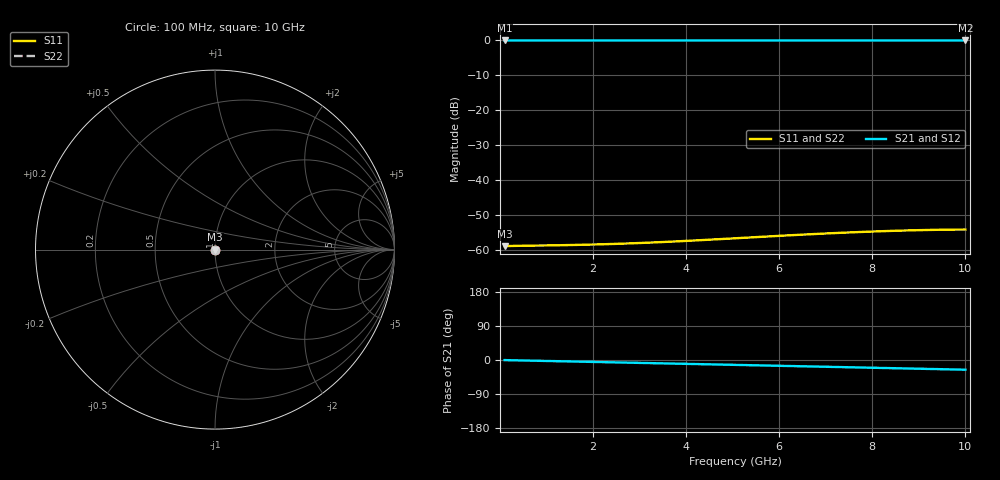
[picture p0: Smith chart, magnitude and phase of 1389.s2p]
# Hz S RI R 50.00
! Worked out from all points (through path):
!   100 points, 100 MHz to 10 GHz, reference 50 ohm
!   highest |S21| = -0.01 dB at 100 MHz (marker M1); lowest = 0.0 dB at 10 GHz (marker M2)
!   group delay of S21, straight-line fit = 7.12 ps
!   lowest |S11| = -59.0 dB at 100 MHz (marker M3), VSWR 1.00, Z = 50.1 - j0.00202 ohm
!   |S11| at or under -10 dB: start of sweep to end of sweep
!   |S22| runs from -59.0 to -54.3 dB; largest |S21 - S12| = 0
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1e8  0.00112 -2.02e-05  0.9989 -0.00442  0.9989 -0.00442  0.00112 -2.02e-05
2e8  0.00112 -4.05e-05  0.9988 -0.00884  0.9988 -0.00884  0.00112 -4.05e-05
4e8  0.00113 -8.14e-05  0.9987 -0.0177  0.9987 -0.0177  0.00113 -8.14e-05
1.3e9  0.00112 -0.000272  0.9972 -0.0575  0.9972 -0.0575  0.00112 -0.000272
1.8e9  0.00111 -0.000383  0.9956 -0.0796  0.9956 -0.0796  0.00111 -0.000383
2.2e9  0.00109 -0.000475  0.994 -0.0972  0.994 -0.0972  0.00109 -0.000475
2.6e9  0.00107 -0.000569  0.9921 -0.1149  0.9921 -0.1149  0.00107 -0.000569
3e9  0.00105 -0.000664  0.9899 -0.1325  0.9899 -0.1325  0.00105 -0.000664
3.4e9  0.00102 -0.00076  0.9874 -0.1501  0.9874 -0.1501  0.00102 -0.00076
3.7e9  0.000997 -0.000833  0.9853 -0.1632  0.9853 -0.1632  0.000997 -0.000833
4.1e9  0.000963 -0.00093  0.9822 -0.1808  0.9822 -0.1808  0.000963 -0.00093
5.1e9  0.000865 -0.00117  0.9731 -0.2244  0.9731 -0.2244  0.000865 -0.00117
6e9  0.00076 -0.00137  0.9633 -0.2634  0.9633 -0.2634  0.00076 -0.00137
6.7e9  0.00067 -0.00152  0.9545 -0.2935  0.9545 -0.2935  0.00067 -0.00152
7.2e9  0.000603 -0.00161  0.9476 -0.3149  0.9476 -0.3149  0.000603 -0.00161
7.6e9  0.000549 -0.00168  0.9418 -0.3319  0.9418 -0.3319  0.000549 -0.00168
8e9  0.000494 -0.00174  0.9357 -0.3488  0.9357 -0.3488  0.000494 -0.00174
8.4e9  0.000439 -0.0018  0.9292 -0.3656  0.9292 -0.3656  0.000439 -0.0018
8.8e9  0.000385 -0.00184  0.9224 -0.3823  0.9224 -0.3823  0.000385 -0.00184
9.2e9  0.000333 -0.00188  0.9154 -0.3989  0.9154 -0.3989  0.000333 -0.00188
9.6e9  0.000284 -0.0019  0.908 -0.4154  0.908 -0.4154  0.000284 -0.0019
1e10  0.000237 -0.00192  0.9003 -0.4318  0.9003 -0.4318  0.000237 -0.00192
